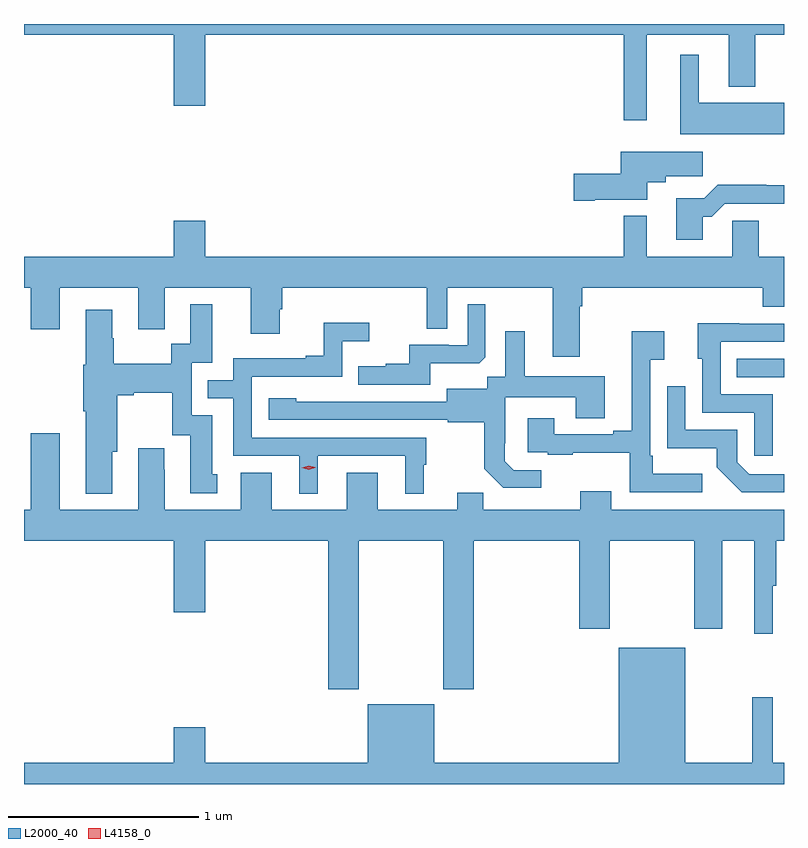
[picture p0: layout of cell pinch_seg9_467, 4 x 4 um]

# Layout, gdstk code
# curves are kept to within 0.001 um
import gdstk
lib = gdstk.Library(unit=1e-6, precision=1e-09)
def R(c, l, rs):  # rectangles x0, y0, x1, y1
    for r in rs: c.add(gdstk.rectangle(r[:2], r[2:], *l))
def P(c, l, *ps):  # polygons
    for p in ps: c.add(gdstk.Polygon(p, *l))
L2000_40 = (2000, 40)
L4158_0 = (4158, 0)

pinch_seg9_467 = lib.new_cell('pinch_seg9_467')
R(pinch_seg9_467, L2000_40, [(323.815,1186.626,324.063,1186.722)])
P(pinch_seg9_467, L2000_40, [(323.341,1188.428),(323.771,1188.428),(323.771,1188.155),(323.911,1188.155),(323.911,1188.428),(324.063,1188.428),(324.063,1188.485),(320.063,1188.485),(320.063,1188.428),(320.852,1188.428),(320.852,1188.054),(321.016,1188.054),(321.016,1188.428),(323.22,1188.428),(323.22,1187.979),(323.341,1187.979)],
  [(324.063,1188.07),(323.614,1188.07),(323.614,1188.322),(323.516,1188.322),(323.516,1187.906),(324.063,1187.906)],
  [(323.068,1187.561),(323.344,1187.561),(323.344,1187.651),(323.44,1187.651),(323.44,1187.683),(323.635,1187.683),(323.635,1187.812),(323.204,1187.812),(323.204,1187.696),(322.956,1187.696),(322.956,1187.554),(323.068,1187.554)],
  [(323.635,1187.471),(323.684,1187.471),(323.751,1187.538),(324.063,1187.538),(324.063,1187.636),(323.969,1187.636),(323.969,1187.639),(323.714,1187.639),(323.644,1187.569),(323.495,1187.569),(323.495,1187.349),(323.635,1187.349)],
  [(322.987,1187),(323,1187),(323,1187.096),(323.951,1187.096),(323.951,1186.997),(324.063,1186.997),(324.063,1187.26),(323.929,1187.26),(323.929,1187.45),(323.79,1187.45),(323.79,1187.26),(323.341,1187.26),(323.341,1187.476),(323.22,1187.476),(323.22,1187.26),(321.016,1187.26),(321.016,1187.449),(320.852,1187.449),(320.852,1187.26),(320.063,1187.26),(320.063,1187.096),(320.099,1187.096),(320.099,1186.878),(320.251,1186.878),(320.251,1187.096),(320.663,1187.096),(320.663,1186.878),(320.803,1186.878),(320.803,1187.096),(321.257,1187.096),(321.257,1186.854),(321.409,1186.854),(321.409,1186.983),(321.422,1186.983),(321.422,1187.096),(322.182,1187.096),(322.182,1186.882),(322.29,1186.882),(322.29,1187.096),(322.847,1187.096),(322.847,1186.734),(322.987,1186.734)],
  [(322.201,1186.7),(322.459,1186.7),(322.491,1186.731),(322.491,1187.011),(322.398,1187.011),(322.398,1186.794),(322.298,1186.794),(322.298,1186.797),(322.091,1186.797),(322.091,1186.696),(321.967,1186.696),(321.967,1186.684),(321.823,1186.684),(321.823,1186.587),(322.201,1186.587)],
  [(320.527,1186.233),(320.553,1186.233),(320.553,1186.532),(320.641,1186.532),(320.641,1186.544),(320.843,1186.544),(320.843,1186.32),(320.939,1186.32),(320.939,1186.014),(321.079,1186.014),(321.079,1186.116),(321.055,1186.116),(321.055,1186.425),(320.946,1186.425),(320.946,1186.701),(321.055,1186.701),(321.055,1187.011),(320.939,1187.011),(320.939,1186.802),(320.838,1186.802),(320.838,1186.696),(320.535,1186.696),(320.535,1186.83),(320.527,1186.83),(320.527,1186.981),(320.387,1186.981),(320.387,1186.692),(320.375,1186.692),(320.375,1186.448),(320.387,1186.448),(320.387,1186.013),(320.527,1186.013)],
  [(321.61,1186.212),(322.07,1186.212),(322.07,1186.013),(322.168,1186.013),(322.168,1186.164),(322.18,1186.164),(322.18,1186.308),(321.261,1186.308),(321.261,1186.629),(321.738,1186.629),(321.738,1186.814),(321.88,1186.814),(321.88,1186.913),(321.64,1186.913),(321.64,1186.738),(321.545,1186.738),(321.545,1186.725),(321.165,1186.725),(321.165,1186.611),(321.031,1186.611),(321.031,1186.515),(321.165,1186.515),(321.165,1186.212),(321.512,1186.212),(321.512,1186.013),(321.61,1186.013)],
  [(324.003,1186.536),(323.73,1186.536),(323.73,1186.812),(324.063,1186.812),(324.063,1186.908),(323.827,1186.908),(323.827,1186.91),(323.609,1186.91),(323.609,1186.722),(323.634,1186.722),(323.634,1186.44),(323.907,1186.44),(323.907,1186.212),(324.003,1186.212)],
  [(323.632,1186.117),(323.371,1186.117),(323.371,1186.213),(323.358,1186.213),(323.358,1186.718),(323.434,1186.718),(323.434,1186.867),(323.261,1186.867),(323.261,1186.345),(323.165,1186.345),(323.165,1186.326),(322.855,1186.326),(322.855,1186.411),(322.715,1186.411),(322.715,1186.23),(322.819,1186.23),(322.819,1186.218),(322.951,1186.218),(322.951,1186.229),(323.25,1186.229),(323.25,1186.02),(323.632,1186.02)],
  [(322.786,1186.137),(322.641,1186.137),(322.594,1186.184),(322.594,1186.279),(322.596,1186.279),(322.596,1186.52),(322.967,1186.52),(322.967,1186.411),(323.119,1186.411),(323.119,1186.63),(322.699,1186.63),(322.699,1186.867),(322.595,1186.867),(322.595,1186.628),(322.5,1186.628),(322.5,1186.564),(322.289,1186.564),(322.289,1186.497),(321.495,1186.498),(321.495,1186.516),(321.351,1186.516),(321.351,1186.401),(322.293,1186.401),(322.293,1186.389),(322.485,1186.389),(322.485,1186.143),(322.585,1186.043),(322.786,1186.043)],
  [(324.063,1186.116),(323.88,1186.116),(323.817,1186.179),(323.817,1186.35),(323.544,1186.35),(323.544,1186.579),(323.448,1186.579),(323.448,1186.253),(323.71,1186.253),(323.71,1186.151),(323.84,1186.02),(324.063,1186.02)],
  [(320.099,1186.33),(320.099,1185.928),(320.063,1185.928),(320.063,1185.764),(320.852,1185.764),(320.852,1185.39),(321.016,1185.39),(321.016,1185.764),(321.665,1185.764),(321.665,1184.985),(321.825,1184.985),(321.825,1185.764),(322.27,1185.764),(322.27,1184.985),(322.43,1184.985),(322.43,1185.764),(322.985,1185.764),(322.985,1185.303),(323.145,1185.303),(323.145,1185.764),(323.59,1185.764),(323.59,1185.303),(323.737,1185.303),(323.737,1185.764),(323.906,1185.764),(323.906,1185.276),(324.005,1185.276),(324.005,1185.528),(324.023,1185.528),(324.023,1185.764),(324.063,1185.764),(324.063,1185.928),(323.155,1185.928),(323.155,1186.027),(322.991,1186.027),(322.991,1185.928),(322.481,1185.928),(322.481,1186.019),(322.343,1186.019),(322.343,1185.928),(321.925,1185.928),(321.925,1186.123),(321.761,1186.123),(321.761,1185.928),(321.367,1185.928),(321.367,1186.123),(321.203,1186.123),(321.203,1185.928),(320.803,1185.928),(320.803,1186.139),(320.8,1186.139),(320.8,1186.252),(320.663,1186.252),(320.663,1185.928),(320.251,1185.928),(320.251,1186.33)],
  [(324.063,1184.596),(324.004,1184.596),(324.004,1184.941),(323.895,1184.941),(323.895,1184.596),(323.542,1184.596),(323.542,1185.202),(323.192,1185.202),(323.192,1184.596),(322.222,1184.596),(322.222,1184.905),(321.872,1184.905),(321.872,1184.596),(321.016,1184.596),(321.016,1184.785),(320.852,1184.785),(320.852,1184.596),(320.063,1184.596),(320.063,1184.485),(324.063,1184.485)])
P(pinch_seg9_467, L4158_0, [(321.561,1186.14),(321.525,1186.149),(321.525,1186.149),(321.525,1186.149),(321.561,1186.16),(321.597,1186.151),(321.597,1186.15),(321.597,1186.15)])

lib.write_gds('pinch_seg9_467.gds')
